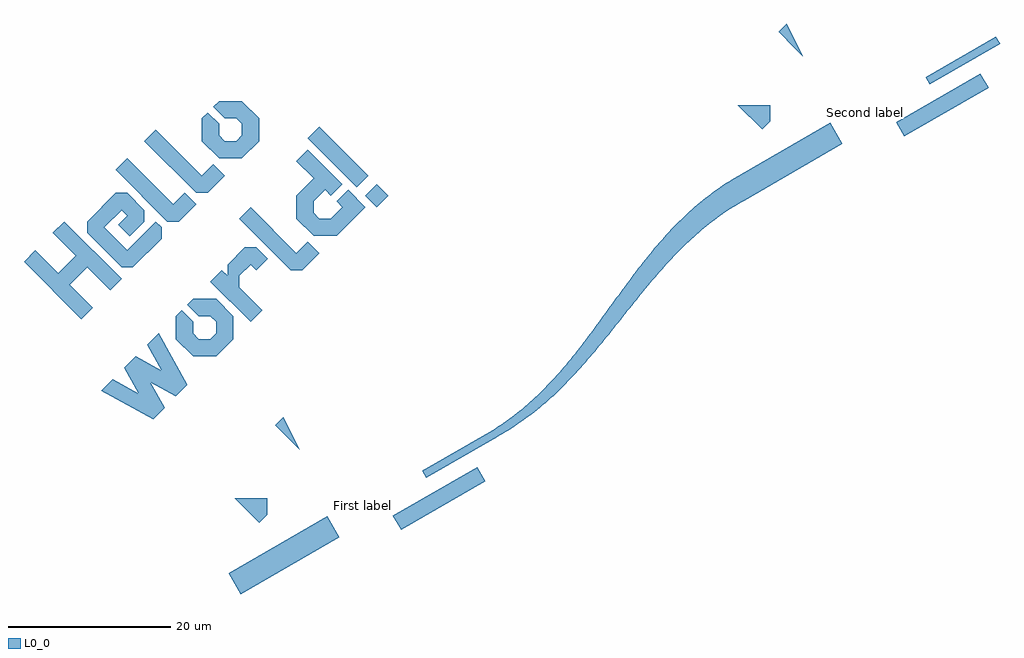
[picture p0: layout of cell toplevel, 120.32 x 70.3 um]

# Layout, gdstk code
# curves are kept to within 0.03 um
from math import pi, radians
import gdstk
lib = gdstk.Library(unit=1e-6, precision=1e-09)
def R(c, l, rs):  # rectangles x0, y0, x1, y1
    for r in rs: c.add(gdstk.rectangle(r[:2], r[2:], *l))
def P(c, l, *ps):  # polygons
    for p in ps: c.add(gdstk.Polygon(p, *l))
L0_0 = (0, 0)

waveguide000381 = lib.new_cell('waveguide000381')
R(waveguide000381, L0_0, [(0,0,10,1)])

waveguide000382 = lib.new_cell('waveguide000382')
R(waveguide000382, L0_0, [(0,0,12,2)])

waveguide000383 = lib.new_cell('waveguide000383')
R(waveguide000383, L0_0, [(0,0,14,3)])

multiwaveguide000380 = lib.new_cell('MultiWaveguide000380')
P(multiwaveguide000380, L0_0, [(8,10),(6,12),(7,13),(9,9)],
  [(4,0),(5,1),(5,3),(1,3)])
multiwaveguide000380.add(gdstk.Reference(waveguide000381, (24.142,6.433), rotation=radians(30), x_reflection=True))
multiwaveguide000380.add(gdstk.Reference(waveguide000382, (21.5,-0.866), rotation=radians(30)))
multiwaveguide000380.add(gdstk.Reference(waveguide000383, (0.26,-6.201), rotation=radians(390), x_reflection=True))

unnamed000385 = lib.new_cell('Unnamed000385')
P(unnamed000385, L0_0, [(10.76,2.933),(12.813,4.304),(14.763,5.84),(16.618,7.534),(18.677,9.691),(20.091,11.335),(22.009,13.755),(27.356,21.042),(29.283,23.57),(30.998,25.664),(32.791,27.664),(34.68,29.541),(36.335,30.997),(38.427,32.597),(40.26,33.799),(41.76,31.201),(39.704,29.973),(37.731,28.573),(35.832,27.003),(33.699,24.974),(31.93,23.088),(30.201,21.092),(24.534,14.058),(22.205,11.285),(20.088,8.975),(17.875,6.825),(16.224,5.408),(14.51,4.105),(12.731,2.922),(11.26,2.067)])

textline000387 = lib.new_cell('textline000387')
P(textline000387, L0_0, [(1,10),(3,10),(3,6),(6,6),(6,10),(8,10),(8,0),(6,0),(6,4),(3,4),(3,0),(1,0),(1,10)],
  [(10,0),(9,1),(9,7),(10,8),(15,8),(16,7),(16,4),(15,3),(12.4,3),(12.4,5),(14,5),(14,6),(11,6),(11,2),(16,2),(16,1),(15,0)],
  [(21,0),(18,0),(17,1),(17,10),(19,10),(19,2),(21,2),(21,0)],
  [(26,0),(23,0),(22,1),(22,10),(24,10),(24,2),(26,2),(26,0)],
  [(32,7),(34,5),(34,2),(32,0),(29,0),(27,2),(27,5),(29,7),(30,7),(30,5),(29,4),(29,3),(30,2),(31,2),(32,3),(32,4),(31,5),(31,7)])

textline000388 = lib.new_cell('textline000388')
P(textline000388, L0_0, [(6,-11.5),(5,-15),(3,-15),(1,-8),(3,-8),(4,-11.5),(5,-8),(7,-8),(8,-11.5),(9,-8),(11,-8),(9,-15),(7,-15)],
  [(17,-8),(19,-10),(19,-13),(17,-15),(14,-15),(12,-13),(12,-10),(14,-8),(15,-8),(15,-10),(14,-11),(14,-12),(15,-13),(16,-13),(17,-12),(17,-11),(16,-10),(16,-8)],
  [(25,-11),(25,-10),(23,-10),(22,-11),(22,-15),(20,-15),(20,-8),(22,-8),(22,-9),(23,-8),(26,-8),(27,-9),(27,-11)],
  [(32,-15),(29,-15),(28,-14),(28,-5),(30,-5),(30,-13),(32,-13),(32,-15)],
  [(40,-15),(35,-15),(33,-13),(33,-10),(35,-8),(38,-8),(38,-5),(40,-5),(40,-11),(38,-11),(38,-10),(36,-10),(35,-11),(35,-12),(36,-13),(38,-13),(38,-12),(40,-12)],
  [(41,-16),(41,-14),(43,-14),(43,-16),(41,-16)],
  [(41,-12.5),(41,-4),(43,-4),(43,-12.5),(41,-12.5)])

text000386 = lib.new_cell('text000386')
text000386.add(gdstk.Reference(textline000387, (-17.5,0)))
text000386.add(gdstk.Reference(textline000388, (-22,0)))

toplevel = lib.new_cell('toplevel')
toplevel.add(gdstk.Reference(multiwaveguide000380, (-22.043,-8.5)))
toplevel.add(gdstk.Reference(multiwaveguide000380, (40,40)))
toplevel.add(gdstk.Reference(unnamed000385, (0,0)))
toplevel.add(gdstk.Reference(text000386, (-28.284,28.284), rotation=radians(45)))
toplevel.add(gdstk.Label('First label', (-5.262,-6.4), layer=255, texttype=0))
toplevel.add(gdstk.Label('Second label', (56.781,42.1), layer=255, texttype=0))

lib.write_gds('toplevel.gds')
